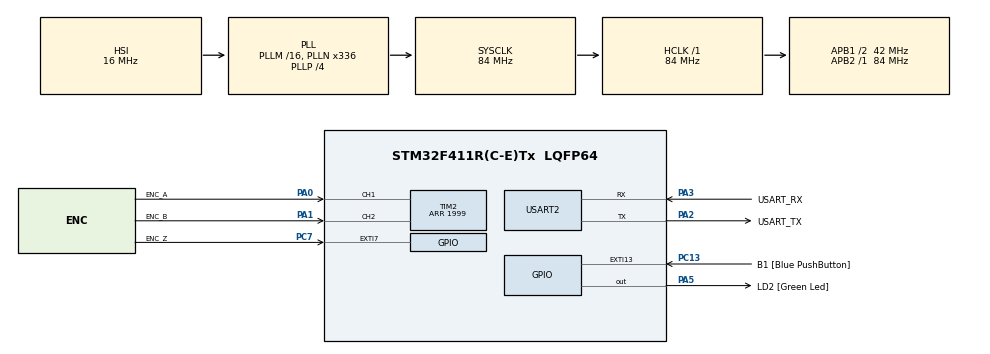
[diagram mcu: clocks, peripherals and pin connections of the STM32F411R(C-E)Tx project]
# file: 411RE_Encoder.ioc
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FREERTOS.Tasks01=defaultTask,16,128,StartDefaultTask,Default,NULL,Dynamic,NULL,NULL
Mcu.Family=STM32F4
Mcu.Name=STM32F411R(C-E)Tx
Mcu.Package=LQFP64
NVIC.EXTI15_10_IRQn=true\:6\:0\:true\:false\:true\:true\:true\:true\:true
NVIC.EXTI9_5_IRQn=true\:6\:0\:true\:false\:true\:true\:true\:true\:true
NVIC.PriorityGroup=NVIC_PRIORITYGROUP_4
NVIC.TIM5_IRQn=true\:15\:0\:false\:false\:true\:false\:false\:true\:true
NVIC.TimeBase=TIM5_IRQn
NVIC.TimeBaseIP=TIM5
PA0-WKUP.GPIO_Label=ENC_A
PA0-WKUP.GPIO_PuPd=GPIO_PULLDOWN
PA0-WKUP.Signal=S_TIM2_CH1_ETR
PA1.GPIO_Label=ENC_B
PA1.GPIO_PuPd=GPIO_PULLDOWN
PA1.Signal=S_TIM2_CH2
PA13.GPIO_Label=TMS
PA13.Mode=Serial_Wire
PA13.Signal=SYS_JTMS-SWDIO
PA14.GPIO_Label=TCK
PA14.Mode=Serial_Wire
PA14.Signal=SYS_JTCK-SWCLK
PA2.GPIO_Label=USART_TX
PA2.Mode=Asynchronous
PA2.Signal=USART2_TX
PA3.GPIO_Label=USART_RX
PA3.Mode=Asynchronous
PA3.Signal=USART2_RX
PA5.GPIO_Label=LD2 [Green Led]
PA5.Signal=GPIO_Output
PB3.GPIO_Label=SWO
PB3.Signal=SYS_JTDO-SWO
PC13-ANTI_TAMP.GPIO_Label=B1 [Blue PushButton]
PC13-ANTI_TAMP.GPIO_ModeDefaultEXTI=GPIO_MODE_IT_FALLING
PC13-ANTI_TAMP.Signal=GPXTI13
PC14-OSC32_IN.Mode=LSE-External-Oscillator
PC14-OSC32_IN.Signal=RCC_OSC32_IN
PC15-OSC32_OUT.Mode=LSE-External-Oscillator
PC15-OSC32_OUT.Signal=RCC_OSC32_OUT
PC7.GPIO_Label=ENC_Z
PC7.GPIO_ModeDefaultEXTI=GPIO_MODE_IT_FALLING
PC7.GPIO_PuPd=GPIO_PULLDOWN
PC7.Signal=GPXTI7
PH0\ -\ OSC_IN.Mode=HSE-External-Clock-Source
PH0\ -\ OSC_IN.Signal=RCC_OSC_IN
PH1\ -\ OSC_OUT.Mode=HSE-External-Clock-Source
PH1\ -\ OSC_OUT.Signal=RCC_OSC_OUT
ProjectManager.HeapSize=0x200
ProjectManager.StackSize=0x400
ProjectManager.TargetToolchain=STM32CubeIDE
RCC.48MHZClocksFreq_Value=84000000
RCC.AHBFreq_Value=84000000
RCC.APB1CLKDivider=RCC_HCLK_DIV2
RCC.APB1Freq_Value=42000000
RCC.APB1TimFreq_Value=84000000
RCC.APB2Freq_Value=84000000
RCC.APB2TimFreq_Value=84000000
RCC.CortexFreq_Value=84000000
RCC.FLatency-AdvancedSettings=FLASH_LATENCY_2
RCC.HCLKFreq_Value=84000000
RCC.HSE_VALUE=8000000
RCC.HSI_VALUE=16000000
RCC.PLLN=336
RCC.PLLP=RCC_PLLP_DIV4
RCC.RCC_RTC_Clock_Source=RCC_RTCCLKSOURCE_LSI
RCC.RCC_RTC_Clock_SourceVirtual=RCC_RTCCLKSOURCE_LSI
RCC.SYSCLKFreq_VALUE=84000000
RCC.SYSCLKSource=RCC_SYSCLKSOURCE_PLLCLK
RCC.VCOOutputFreq_Value=336000000
SH.S_TIM2_CH1_ETR.0=TIM2_CH1,Encoder_Interface
SH.S_TIM2_CH2.0=TIM2_CH2,Encoder_Interface
TIM2.AutoReloadPreload=TIM_AUTORELOAD_PRELOAD_DISABLE
TIM2.CounterMode=TIM_COUNTERMODE_UP
TIM2.EncoderMode=TIM_ENCODERMODE_TI12
TIM2.IC1Filter=1
TIM2.IC1Polarity=TIM_ICPOLARITY_FALLING
TIM2.IC2Filter=1
TIM2.IC2Polarity=TIM_ICPOLARITY_FALLING
TIM2.Period=1999
TIM2.TIM_MasterOutputTrigger=TIM_TRGO_UPDATE
USART2.VirtualMode=VM_ASYNC
VP_FREERTOS_VS_CMSIS_V2.Mode=CMSIS_V2
VP_SYS_VS_tim5.Mode=TIM5
VP_TIM9_VS_ClockSourceITR.Mode=TriggerSource_ITR0
board=NUCLEO-F411RE

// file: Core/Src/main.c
/* USER CODE BEGIN Header */
/**
  ******************************************************************************
  * @file           : main.c
  * @brief          : Main program body
  ******************************************************************************
  * @attention
  *
  * Copyright (c) 2024 STMicroelectronics.
  * All rights reserved.
  *
  * This software is licensed under terms that can be found in the LICENSE file
  * in the root directory of this software component.
  * If no LICENSE file comes with this software, it is provided AS-IS.
  *
  ******************************************************************************
  */
/* USER CODE END Header */
#include "main.h"
#include "cmsis_os.h"

TIM_HandleTypeDef htim2;
TIM_HandleTypeDef htim9;

UART_HandleTypeDef huart2;

/* Definitions for defaultTask */
osThreadId_t defaultTaskHandle;
const osThreadAttr_t defaultTask_attributes = {
  .name = "defaultTask",
  .stack_size = 128 * 4,
  .priority = (osPriority_t) osPriorityBelowNormal,
};
/* USER CODE BEGIN PV */

uint32_t enc_index_offset;
int32_t enc_counts;
uint8_t MSG[100];

SemaphoreHandle_t xEncZSemaphore;
/* USER CODE END PV */

void SystemClock_Config(void);
static void MX_GPIO_Init(void);
static void MX_USART2_UART_Init(void);
static void MX_TIM9_Init(void);
static void MX_TIM2_Init(void);
void StartDefaultTask(void *argument);

/* USER CODE BEGIN PFP */
extern void enc_task_handler(void *);
extern void enc_init(void);

/* USER CODE END PFP */

int main(void)
{

  /* MCU Configuration--------------------------------------------------------*/

  /* Reset of all peripherals, Initializes the Flash interface and the Systick. */
  HAL_Init();

  /* USER CODE BEGIN Init */
  //enc_init();
  /* USER CODE END Init */

  /* Configure the system clock */
  SystemClock_Config();

  /* Initialize all configured peripherals */
  MX_GPIO_Init();
  MX_USART2_UART_Init();
  MX_TIM9_Init();
  MX_TIM2_Init();
  /* USER CODE BEGIN 2 */

  HAL_TIM_Encoder_Start(&htim2, TIM_CHANNEL_ALL);
  /* USER CODE END 2 */

  /* Init scheduler */
  osKernelInitialize();

  /* USER CODE BEGIN RTOS_SEMAPHORES */
  xEncZSemaphore = xSemaphoreCreateMutex();

  configASSERT(xEncZSemaphore != NULL);

  /* USER CODE END RTOS_SEMAPHORES */

  /* Create the thread(s) */
  /* creation of defaultTask */
  defaultTaskHandle = osThreadNew(StartDefaultTask, NULL, &defaultTask_attributes);

  /* USER CODE BEGIN RTOS_THREADS */

  //status = xTaskCreate(enc_task_handler, "Task_ENC",  250, "ENC Task Handler", 2, &enc_task_handle);

  //configASSERT(status == pdPASS);

  /* USER CODE END RTOS_THREADS */

  /* Start scheduler */
  osKernelStart();

  /* We should never get here as control is now taken by the scheduler */

  /* Infinite loop */
  while (1)
  {

  }
}

void SystemClock_Config(void)
{
  RCC_OscInitTypeDef RCC_OscInitStruct = {0};
  RCC_ClkInitTypeDef RCC_ClkInitStruct = {0};

  /** Configure the main internal regulator output voltage
  */
  __HAL_RCC_PWR_CLK_ENABLE();
  __HAL_PWR_VOLTAGESCALING_CONFIG(PWR_REGULATOR_VOLTAGE_SCALE1);

  /** Initializes the RCC Oscillators according to the specified parameters
  * in the RCC_OscInitTypeDef structure.
  */
  RCC_OscInitStruct.OscillatorType = RCC_OSCILLATORTYPE_HSI;
  RCC_OscInitStruct.HSIState = RCC_HSI_ON;
  RCC_OscInitStruct.HSICalibrationValue = RCC_HSICALIBRATION_DEFAULT;
  RCC_OscInitStruct.PLL.PLLState = RCC_PLL_ON;
  RCC_OscInitStruct.PLL.PLLSource = RCC_PLLSOURCE_HSI;
  RCC_OscInitStruct.PLL.PLLM = 16;
  RCC_OscInitStruct.PLL.PLLN = 336;
  RCC_OscInitStruct.PLL.PLLP = RCC_PLLP_DIV4;
  RCC_OscInitStruct.PLL.PLLQ = 4;
  if (HAL_RCC_OscConfig(&RCC_OscInitStruct) != HAL_OK)
  {
    Error_Handler();
  }

  /** Initializes the CPU, AHB and APB buses clocks
  */
  RCC_ClkInitStruct.ClockType = RCC_CLOCKTYPE_HCLK|RCC_CLOCKTYPE_SYSCLK
                              |RCC_CLOCKTYPE_PCLK1|RCC_CLOCKTYPE_PCLK2;
  RCC_ClkInitStruct.SYSCLKSource = RCC_SYSCLKSOURCE_PLLCLK;
  RCC_ClkInitStruct.AHBCLKDivider = RCC_SYSCLK_DIV1;
  RCC_ClkInitStruct.APB1CLKDivider = RCC_HCLK_DIV2;
  RCC_ClkInitStruct.APB2CLKDivider = RCC_HCLK_DIV1;

  if (HAL_RCC_ClockConfig(&RCC_ClkInitStruct, FLASH_LATENCY_2) != HAL_OK)
  {
    Error_Handler();
  }
}

static void MX_TIM2_Init(void)
{

  TIM_Encoder_InitTypeDef sConfig = {0};
  TIM_MasterConfigTypeDef sMasterConfig = {0};

  htim2.Instance = TIM2;
  htim2.Init.Prescaler = 0;
  htim2.Init.CounterMode = TIM_COUNTERMODE_UP;
  htim2.Init.Period = 1999;
  htim2.Init.ClockDivision = TIM_CLOCKDIVISION_DIV1;
  htim2.Init.AutoReloadPreload = TIM_AUTORELOAD_PRELOAD_DISABLE;
  sConfig.EncoderMode = TIM_ENCODERMODE_TI12;
  sConfig.IC1Polarity = TIM_ICPOLARITY_FALLING;
  sConfig.IC1Selection = TIM_ICSELECTION_DIRECTTI;
  sConfig.IC1Prescaler = TIM_ICPSC_DIV1;
  sConfig.IC1Filter = 1;
  sConfig.IC2Polarity = TIM_ICPOLARITY_FALLING;
  sConfig.IC2Selection = TIM_ICSELECTION_DIRECTTI;
  sConfig.IC2Prescaler = TIM_ICPSC_DIV1;
  sConfig.IC2Filter = 1;
  if (HAL_TIM_Encoder_Init(&htim2, &sConfig) != HAL_OK)
  {
    Error_Handler();
  }
  sMasterConfig.MasterOutputTrigger = TIM_TRGO_UPDATE;
  sMasterConfig.MasterSlaveMode = TIM_MASTERSLAVEMODE_DISABLE;
  if (HAL_TIMEx_MasterConfigSynchronization(&htim2, &sMasterConfig) != HAL_OK)
  {
    Error_Handler();
  }

}

static void MX_TIM9_Init(void)
{

  TIM_SlaveConfigTypeDef sSlaveConfig = {0};

  htim9.Instance = TIM9;
  htim9.Init.Prescaler = 0;
  htim9.Init.CounterMode = TIM_COUNTERMODE_UP;
  htim9.Init.Period = 65535;
  htim9.Init.ClockDivision = TIM_CLOCKDIVISION_DIV1;
  htim9.Init.AutoReloadPreload = TIM_AUTORELOAD_PRELOAD_DISABLE;
  if (HAL_TIM_Base_Init(&htim9) != HAL_OK)
  {
    Error_Handler();
  }
  sSlaveConfig.SlaveMode = TIM_SLAVEMODE_DISABLE;
  sSlaveConfig.InputTrigger = TIM_TS_ITR0;
  if (HAL_TIM_SlaveConfigSynchro(&htim9, &sSlaveConfig) != HAL_OK)
  {
    Error_Handler();
  }

}

static void MX_USART2_UART_Init(void)
{

  huart2.Instance = USART2;
  huart2.Init.BaudRate = 115200;
  huart2.Init.WordLength = UART_WORDLENGTH_8B;
  huart2.Init.StopBits = UART_STOPBITS_1;
  huart2.Init.Parity = UART_PARITY_NONE;
  huart2.Init.Mode = UART_MODE_TX_RX;
  huart2.Init.HwFlowCtl = UART_HWCONTROL_NONE;
  huart2.Init.OverSampling = UART_OVERSAMPLING_16;
  if (HAL_UART_Init(&huart2) != HAL_OK)
  {
    Error_Handler();
  }

}

static void MX_GPIO_Init(void)
{
  GPIO_InitTypeDef GPIO_InitStruct = {0};

  /* GPIO Ports Clock Enable */
  __HAL_RCC_GPIOC_CLK_ENABLE();
  __HAL_RCC_GPIOH_CLK_ENABLE();
  __HAL_RCC_GPIOA_CLK_ENABLE();
  __HAL_RCC_GPIOB_CLK_ENABLE();

  /*Configure GPIO pin Output Level */
  HAL_GPIO_WritePin(LD2_GPIO_Port, LD2_Pin, GPIO_PIN_RESET);

  /*Configure GPIO pin : B1_Pin */
  GPIO_InitStruct.Pin = B1_Pin;
  GPIO_InitStruct.Mode = GPIO_MODE_IT_FALLING;
  GPIO_InitStruct.Pull = GPIO_NOPULL;
  HAL_GPIO_Init(B1_GPIO_Port, &GPIO_InitStruct);

  /*Configure GPIO pin : LD2_Pin */
  GPIO_InitStruct.Pin = LD2_Pin;
  GPIO_InitStruct.Mode = GPIO_MODE_OUTPUT_PP;
  GPIO_InitStruct.Pull = GPIO_NOPULL;
  GPIO_InitStruct.Speed = GPIO_SPEED_FREQ_LOW;
  HAL_GPIO_Init(LD2_GPIO_Port, &GPIO_InitStruct);

  /*Configure GPIO pin : ENC_Z_Pin */
  GPIO_InitStruct.Pin = ENC_Z_Pin;
  GPIO_InitStruct.Mode = GPIO_MODE_IT_FALLING;
  GPIO_InitStruct.Pull = GPIO_PULLDOWN;
  HAL_GPIO_Init(ENC_Z_GPIO_Port, &GPIO_InitStruct);

  /* EXTI interrupt init*/
  HAL_NVIC_SetPriority(EXTI9_5_IRQn, 6, 0);
  HAL_NVIC_EnableIRQ(EXTI9_5_IRQn);

  HAL_NVIC_SetPriority(EXTI15_10_IRQn, 6, 0);
  HAL_NVIC_EnableIRQ(EXTI15_10_IRQn);

}

void StartDefaultTask(void *argument)
{
  /* USER CODE BEGIN 5 */

	uint32_t raw_cnt = 0;
	uint32_t prv_cnt = 0;
	int32_t delta = 0;
	//uint32_t tracking[10];
	int32_t full_cnt = 0;
	uint8_t p_cnt = 0;
	uint32_t buffered_offset = 0;

  for(;;)
  {

	  raw_cnt = TIM2->CNT;

	  delta = (int32_t)(raw_cnt - prv_cnt);
	  //we should be able to assume that 1500 counts in 10ms can
	  //only happen if there is a zero crossing.
	  if(delta < -1500) delta += 2000;
	  if(delta > 1500) delta -= 2000;

	  full_cnt += delta;

	  if(p_cnt++ > 10)
	  {
		  if(xSemaphoreTake(xEncZSemaphore, (TickType_t) 1) == pdTRUE)
		  {
			  buffered_offset = enc_index_offset;
			  xSemaphoreGive(xEncZSemaphore);
		  }
	      sprintf((char *) MSG, "Encoder Raw Counts = %lu, Index Offset = %lu, Encoder Tracking = %ld\r\n", (long) raw_cnt, (long) buffered_offset, (long) full_cnt);
	      HAL_UART_Transmit(&huart2, MSG, sizeof(MSG), 100);
	      p_cnt = 0;
	  }
	  prv_cnt = raw_cnt;
      osDelay(10);  //not setting to 1s because that would be way to slow for catching the zero crossing

      // eventually I would put the communications in a separete task but I prefer having everything in this short code block.
  }

  /* USER CODE END 5 */
}

void HAL_TIM_PeriodElapsedCallback(TIM_HandleTypeDef *htim)
{
  if (htim->Instance == TIM5) {
    HAL_IncTick();
  }
}

void Error_Handler(void)
{
  __disable_irq();
  while (1)
  {
  }
}
